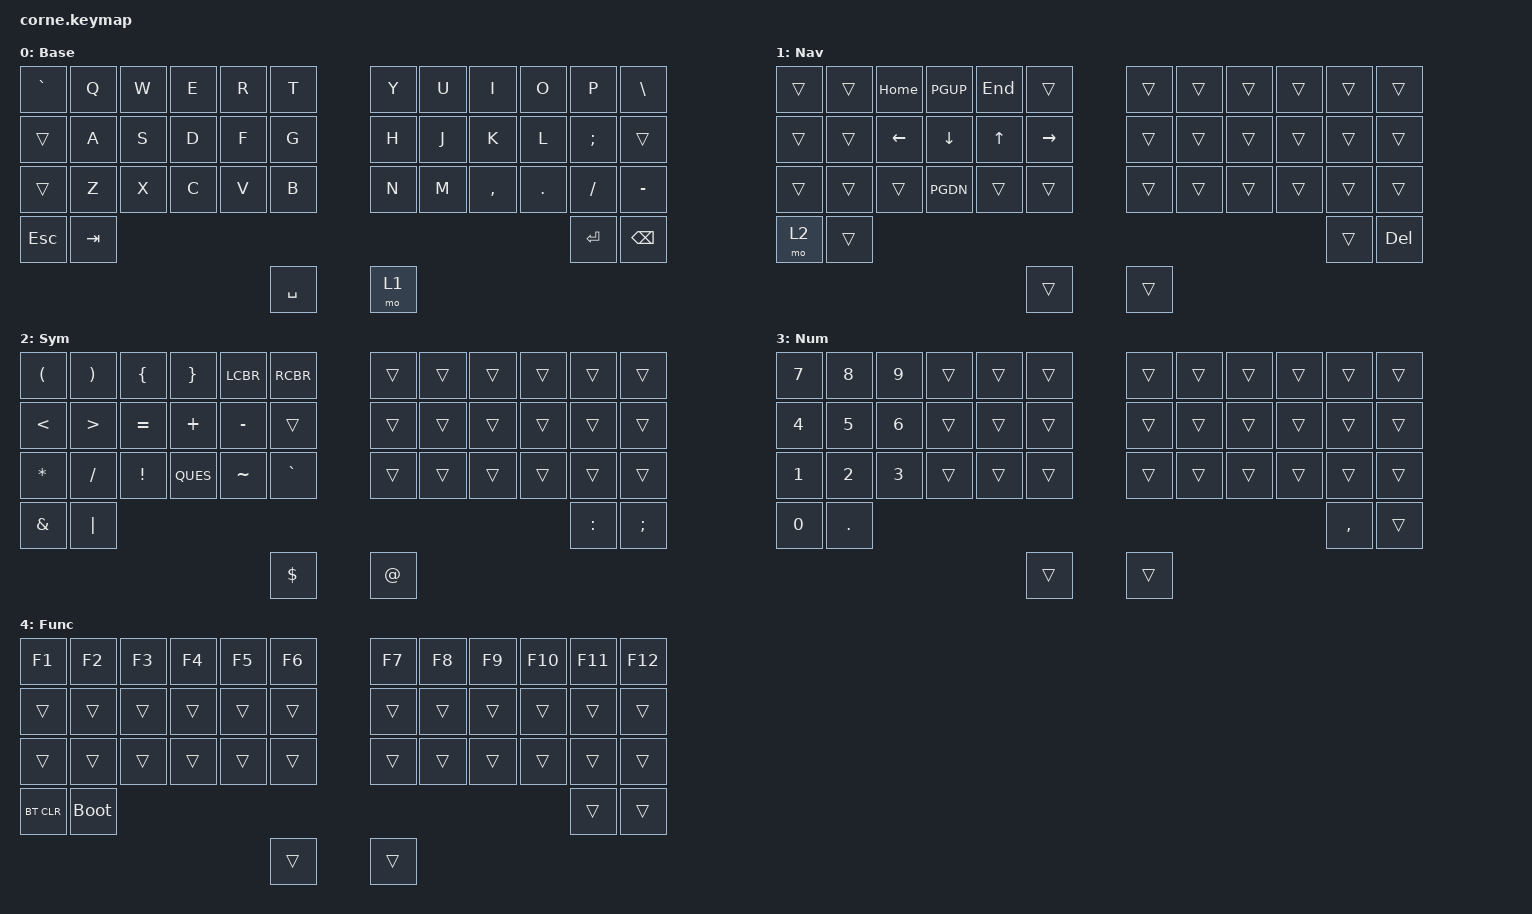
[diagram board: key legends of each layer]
#include <behaviors.dtsi>
#include <dt-bindings/zmk/keys.h>
#include <dt-bindings/zmk/outputs.h>

/ {
    keymap {
        compatible = "zmk,keymap";

// Corne 42 positions (shield corne):
//  Left: col0-col5 x row0-2 = 18  +  thumb row3:18,19 row4:20  = 21
//  Right: col0-col5 x row0-2 = 18  +  thumb row3:39,40 row4:41  = 21
//
//  pos0  pos1  pos2  pos3  pos4  pos5    pos21 pos22 pos23 pos24 pos25 pos26
//  pos6  pos7  pos8  pos9  pos10 pos11   pos27 pos28 pos29 pos30 pos31 pos32
//  pos12 pos13 pos14 pos15 pos16 pos17   pos33 pos34 pos35 pos36 pos37 pos38
//  pos18 pos19                           pos39 pos40
//              pos20                     pos41

        base {
            display-name = "Base";
            bindings = <
    &kp GRAVE &kp Q    &kp W    &kp E    &kp R    &kp T       &kp Y    &kp U    &kp I    &kp O    &kp P    &kp BSLH
    &trans     &kp A    &kp S    &kp D    &kp F    &kp G       &kp H    &kp J    &kp K    &kp L    &kp SEMI &trans
    &trans     &kp Z    &kp X    &kp C    &kp V    &kp B       &kp N    &kp M    &kp COMMA &kp DOT  &kp FSLH &kp MINUS
    &kp ESC    &kp TAB                                             &kp RET  &kp BSPC
                              &kp SPACE   &mo 1
            >;
        };

        nav {
            display-name = "Nav";
            bindings = <
    &trans &trans &kp HOME &kp PGUP &kp END  &trans     &trans &trans &trans &trans &trans &trans
    &trans &trans &kp LEFT &kp DOWN &kp UP   &kp RIGHT  &trans &trans &trans &trans &trans &trans
    &trans &trans &trans   &kp PGDN &trans   &trans     &trans &trans &trans &trans &trans &trans
    &mo 2   &trans                     &trans   &kp DEL
                              &trans   &trans
            >;
        };

        sym {
            display-name = "Sym";
            bindings = <
    &kp LPAR  &kp RPAR  &kp LBRC  &kp RBRC  &kp LCBR  &kp RCBR  &trans &trans &trans &trans &trans &trans
    &kp LT    &kp GT    &kp EQUAL &kp PLUS  &kp MINUS &trans    &trans &trans &trans &trans &trans &trans
    &kp STAR  &kp FSLH  &kp EXCL  &kp QUES  &kp TILDE &kp GRAVE &trans &trans &trans &trans &trans &trans
    &kp AMPS &kp PIPE                     &kp COLON  &kp SEMI
                              &kp DOLLAR   &kp AT
            >;
        };

        num {
            display-name = "Num";
            bindings = <
    &kp N7 &kp N8 &kp N9 &trans &trans &trans   &trans &trans &trans &trans &trans &trans
    &kp N4 &kp N5 &kp N6 &trans &trans &trans   &trans &trans &trans &trans &trans &trans
    &kp N1 &kp N2 &kp N3 &trans &trans &trans   &trans &trans &trans &trans &trans &trans
    &kp N0 &kp DOT                      &kp COMMA &trans
                              &trans   &trans
            >;
        };

        func {
            display-name = "Func";
            bindings = <
    &kp F1    &kp F2    &kp F3    &kp F4    &kp F5    &kp F6    &kp F7    &kp F8    &kp F9    &kp F10   &kp F11   &kp F12
    &trans    &trans    &trans    &trans    &trans    &trans     &trans    &trans    &trans    &trans    &trans    &trans
    &trans    &trans    &trans    &trans    &trans    &trans     &trans    &trans    &trans    &trans    &trans    &trans
    &bt BT_CLR &bootloader               &trans    &trans
                              &trans    &trans
            >;
        };
    };
};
